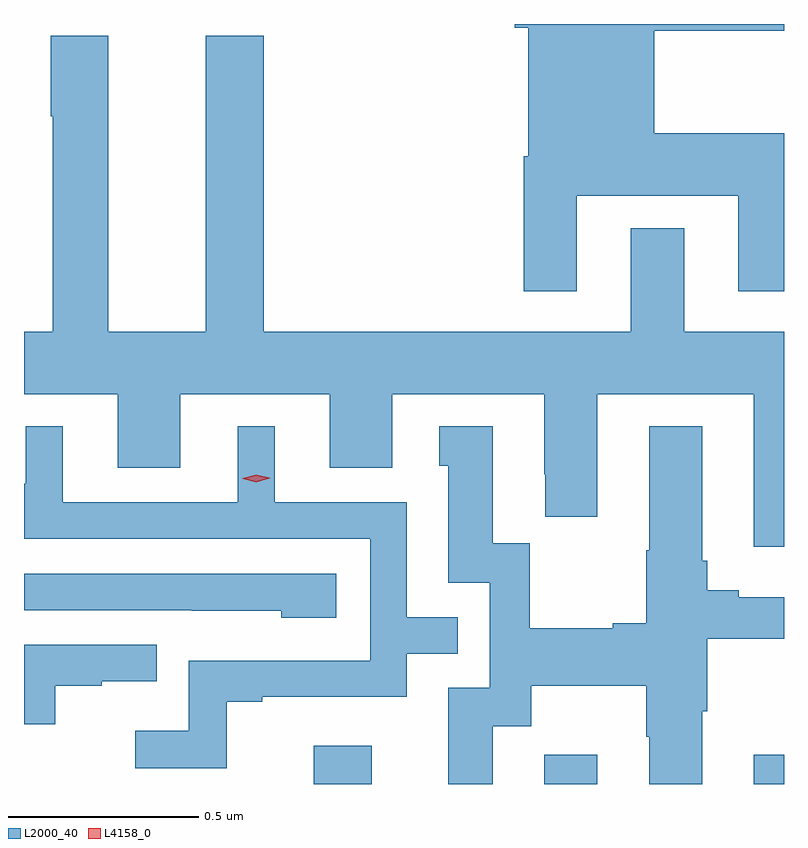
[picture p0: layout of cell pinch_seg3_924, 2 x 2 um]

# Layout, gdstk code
import gdstk
lib = gdstk.Library(unit=1e-6, precision=1e-09)
def R(c, l, rs):  # rectangles x0, y0, x1, y1
    for r in rs: c.add(gdstk.rectangle(r[:2], r[2:], *l))
def P(c, l, *ps):  # polygons
    for p in ps: c.add(gdstk.Polygon(p, *l))
L2000_40 = (2000, 40)
L4158_0 = (4158, 0)

pinch_seg3_924 = lib.new_cell('pinch_seg3_924')
R(pinch_seg3_924, L2000_40, [(821.291,683.906,821.443,684.007), (821.897,683.906,822.037,683.983), (822.449,683.906,822.528,683.983)])
P(pinch_seg3_924, L2000_40, [(821.983,685.454),(822.407,685.454),(822.407,685.203),(822.528,685.203),(822.528,685.618),(822.187,685.618),(822.187,685.888),(822.528,685.888),(822.528,685.906),(821.819,685.906),(821.819,685.896),(821.855,685.896),(821.855,685.558),(821.843,685.558),(821.843,685.203),(821.983,685.203)],
  [(822.528,685.096),(822.265,685.096),(822.265,685.369),(822.125,685.369),(822.125,685.096),(821.159,685.096),(821.159,685.875),(821.006,685.875),(821.006,685.096),(820.75,685.096),(820.75,685.875),(820.598,685.875),(820.598,685.663),(820.603,685.663),(820.603,685.096),(820.528,685.096),(820.528,684.932),(820.775,684.932),(820.775,684.738),(820.939,684.738),(820.939,684.932),(821.333,684.932),(821.333,684.738),(821.497,684.738),(821.497,684.932),(821.897,684.932),(821.897,684.721),(821.9,684.721),(821.9,684.609),(822.037,684.609),(822.037,684.932),(822.449,684.932),(822.449,684.531),(822.528,684.531)],
  [(821.761,684.058),(821.863,684.058),(821.863,684.164),(822.166,684.164),(822.166,684.03),(822.173,684.03),(822.173,683.906),(822.313,683.906),(822.313,684.098),(822.326,684.098),(822.326,684.288),(822.528,684.288),(822.528,684.397),(822.409,684.397),(822.409,684.416),(822.326,684.416),(822.326,684.493),(822.313,684.493),(822.313,684.847),(822.173,684.847),(822.173,684.521),(822.166,684.521),(822.166,684.329),(822.077,684.329),(822.077,684.316),(821.859,684.316),(821.859,684.539),(821.761,684.539),(821.761,684.847),(821.621,684.847),(821.621,684.744),(821.645,684.744),(821.645,684.435),(821.754,684.435),(821.754,684.159),(821.645,684.159),(821.645,683.906),(821.761,683.906)],
  [(821.061,684.123),(821.155,684.123),(821.155,684.135),(821.535,684.135),(821.535,684.249),(821.669,684.249),(821.669,684.345),(821.535,684.345),(821.535,684.648),(821.188,684.648),(821.188,684.847),(821.09,684.847),(821.09,684.648),(820.63,684.648),(820.63,684.847),(820.532,684.847),(820.532,684.696),(820.528,684.696),(820.528,684.552),(821.439,684.552),(821.439,684.231),(820.962,684.231),(820.962,684.046),(820.821,684.046),(820.821,683.948),(821.061,683.948)],
  [(821.35,684.459),(820.528,684.459),(820.528,684.363),(820.969,684.363),(820.969,684.362),(821.205,684.362),(821.205,684.344),(821.35,684.344)],
  [(820.61,684.165),(820.733,684.165),(820.733,684.176),(820.877,684.176),(820.877,684.273),(820.528,684.273),(820.528,684.063),(820.61,684.063)])
P(pinch_seg3_924, L4158_0, [(821.139,684.7),(821.103,684.709),(821.103,684.709),(821.103,684.71),(821.139,684.72),(821.175,684.712),(821.175,684.712),(821.175,684.711)])

lib.write_gds('pinch_seg3_924.gds')
